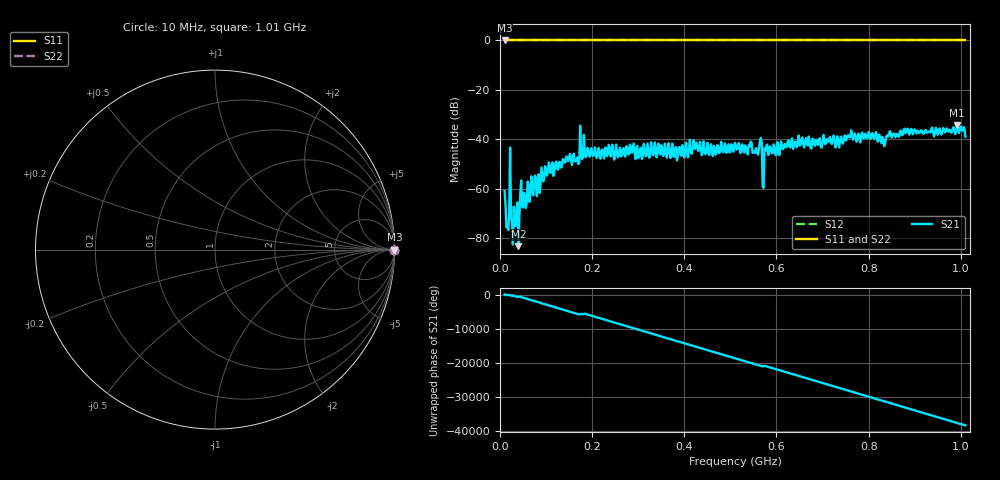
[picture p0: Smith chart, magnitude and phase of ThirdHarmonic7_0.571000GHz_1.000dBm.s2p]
! 8/17/2025 5:36:38 PM
! C:\ANRITSUVNA\TEMP\TEMP.S2P
! CHANNEL.1
! TR.MEASUREMENT
! RAW.DATA
! RF.CORRECTION.OFF
! AVERAGING.OFF
! IF.BANDWIDTH: 5KHZ
! SWEEPTYPE:  FREQ.SWEEP(Linear)
! Reference Plane Port Info
! PORT:  PORT1  PORT2
! DISTANCE:  0  m  0  m
! TIME:  0  s  0  s
! PHASE.OFFSET:  0  deg.  0  deg.
! LOSS:  0  dB  0  dB
! REF.LOSS:  0  dB  0  dB
! REF.FREQ:  0  Hz  0  Hz
! Power Info
! POWER:  -20  dBm  -20  dBm
! EFF.POWER:  -20  dBm  -20  dBm
! SOURCE.ATTEN:  0  dB  0  dB
! TEST.ATTEN:  0  dB  0  dB
# GHZ S RI R 50.0
! FREQ.GHZ  S11RE  S11IM  S21RE  S21IM  S12RE  S12IM  S22RE  S22IM
!; PortSelection: Port_12
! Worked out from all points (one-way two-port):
!   501 points, 10 MHz to 1.01 GHz, reference 50 ohm
!   highest |S21| = -34.10 dB at 992 MHz (marker M1); lowest = -83.1 dB at 40 MHz (marker M2)
!   lowest |S11| = 0.0 dB at 10 MHz (marker M3)
!   |S11| at or under -10 dB: nowhere
!   |S22| runs from 0.0 to 0.0 dB; largest |S21 - S12| = 1
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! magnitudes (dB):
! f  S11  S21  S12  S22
! 10 MHz  0.0  -60.9  0.0  0.0
! 16 MHz  0.0  -74.7  0.0  0.0
! 20 MHz  0.0  -69.9  0.0  0.0
! 26 MHz  0.0  -73.5  0.0  0.0
! 30 MHz  0.0  -67.2  0.0  0.0
! 40 MHz  0.0  -83.1  0.0  0.0
! 48 MHz  0.0  -67.1  0.0  0.0
! 54 MHz  0.0  -62.5  0.0  0.0
! 64 MHz  0.0  -65.3  0.0  0.0
! 110 MHz  0.0  -53.6  0.0  0.0
! 168 MHz  0.0  -47.2  0.0  0.0
! 178 MHz  0.0  -48.0  0.0  0.0
! 214 MHz  0.0  -43.5  0.0  0.0
! 344 MHz  0.0  -41.7  0.0  0.0
! 510 MHz  0.0  -41.4  0.0  0.0
! 564 MHz  0.0  -40.9  0.0  0.0
! 574 MHz  0.0  -43.6  0.0  0.0
! 578 MHz  0.0  -42.6  0.0  0.0
! 678 MHz  0.0  -39.8  0.0  0.0
! 844 MHz  0.0  -38.3  0.0  0.0
! 992 MHz  0.0  -34.1  0.0  0.0
! 1.01 GHz  0.0  -38.9  0.0  0.0
